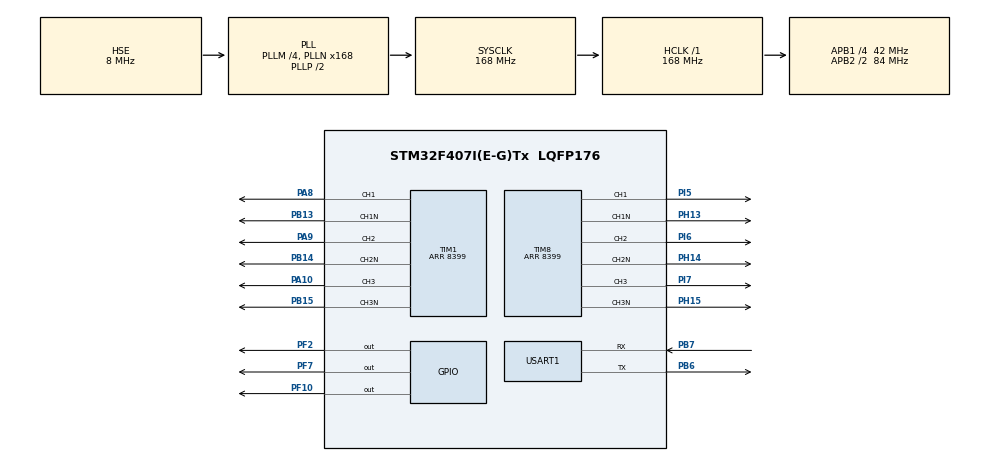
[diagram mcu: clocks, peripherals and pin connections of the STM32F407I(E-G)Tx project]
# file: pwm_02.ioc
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Dma.Request0=USART1_RX
Dma.Request1=USART1_TX
Dma.USART1_RX.0.Direction=DMA_PERIPH_TO_MEMORY
Dma.USART1_RX.0.FIFOMode=DMA_FIFOMODE_DISABLE
Dma.USART1_RX.0.Instance=DMA2_Stream2
Dma.USART1_RX.0.MemDataAlignment=DMA_MDATAALIGN_BYTE
Dma.USART1_RX.0.MemInc=DMA_MINC_ENABLE
Dma.USART1_RX.0.Mode=DMA_NORMAL
Dma.USART1_RX.0.PeriphDataAlignment=DMA_PDATAALIGN_BYTE
Dma.USART1_RX.0.PeriphInc=DMA_PINC_DISABLE
Dma.USART1_RX.0.Priority=DMA_PRIORITY_LOW
Dma.USART1_TX.1.Direction=DMA_MEMORY_TO_PERIPH
Dma.USART1_TX.1.FIFOMode=DMA_FIFOMODE_DISABLE
Dma.USART1_TX.1.Instance=DMA2_Stream7
Dma.USART1_TX.1.MemDataAlignment=DMA_MDATAALIGN_BYTE
Dma.USART1_TX.1.MemInc=DMA_MINC_ENABLE
Dma.USART1_TX.1.Mode=DMA_NORMAL
Dma.USART1_TX.1.PeriphDataAlignment=DMA_PDATAALIGN_BYTE
Dma.USART1_TX.1.PeriphInc=DMA_PINC_DISABLE
Dma.USART1_TX.1.Priority=DMA_PRIORITY_LOW
Mcu.Family=STM32F4
Mcu.Name=STM32F407I(E-G)Tx
Mcu.Package=LQFP176
NVIC.DMA2_Stream2_IRQn=true\:0\:0\:false\:false\:true\:false\:true\:true
NVIC.DMA2_Stream7_IRQn=true\:0\:0\:false\:false\:true\:false\:true\:true
NVIC.PriorityGroup=NVIC_PRIORITYGROUP_4
NVIC.TIM2_IRQn=true\:2\:0\:true\:false\:true\:true\:true\:true
NVIC.USART1_IRQn=true\:0\:0\:false\:false\:true\:true\:true\:true
PA10.Signal=S_TIM1_CH3
PA13.Mode=Serial_Wire
PA13.Signal=SYS_JTMS-SWDIO
PA14.Mode=Serial_Wire
PA14.Signal=SYS_JTCK-SWCLK
PA8.Signal=S_TIM1_CH1
PA9.Signal=S_TIM1_CH2
PB13.Mode=PWM Generation1 CH1 CH1N
PB13.Signal=TIM1_CH1N
PB14.Mode=PWM Generation2 CH2 CH2N
PB14.Signal=TIM1_CH2N
PB15.Mode=PWM Generation3 CH3 CH3N
PB15.Signal=TIM1_CH3N
PB6.Mode=Asynchronous
PB6.Signal=USART1_TX
PB7.Mode=Asynchronous
PB7.Signal=USART1_RX
PF10.GPIO_PuPd=GPIO_NOPULL
PF10.PinState=GPIO_PIN_RESET
PF10.Signal=GPIO_Output
PF2.GPIO_PuPd=GPIO_NOPULL
PF2.PinState=GPIO_PIN_RESET
PF2.Signal=GPIO_Output
PF7.GPIO_PuPd=GPIO_NOPULL
PF7.PinState=GPIO_PIN_RESET
PF7.Signal=GPIO_Output
PH0-OSC_IN.Mode=HSE-External-Oscillator
PH0-OSC_IN.Signal=RCC_OSC_IN
PH1-OSC_OUT.Mode=HSE-External-Oscillator
PH1-OSC_OUT.Signal=RCC_OSC_OUT
PH13.Mode=PWM Generation1 CH1 CH1N
PH13.Signal=TIM8_CH1N
PH14.Mode=PWM Generation2 CH2 CH2N
PH14.Signal=TIM8_CH2N
PH15.Mode=PWM Generation3 CH3 CH3N
PH15.Signal=TIM8_CH3N
PI5.Signal=S_TIM8_CH1
PI6.Signal=S_TIM8_CH2
PI7.Signal=S_TIM8_CH3
ProjectManager.HeapSize=0x200
ProjectManager.StackSize=0x400
ProjectManager.TargetToolchain=MDK-ARM V5.32
RCC.48MHZClocksFreq_Value=84000000
RCC.AHBFreq_Value=168000000
RCC.APB1CLKDivider=RCC_HCLK_DIV4
RCC.APB1Freq_Value=42000000
RCC.APB1TimFreq_Value=84000000
RCC.APB2CLKDivider=RCC_HCLK_DIV2
RCC.APB2Freq_Value=84000000
RCC.APB2TimFreq_Value=168000000
RCC.CortexFreq_Value=168000000
RCC.HCLKFreq_Value=168000000
RCC.HSE_VALUE=8000000
RCC.HSI_VALUE=16000000
RCC.LSE_VALUE=32768
RCC.PLLM=4
RCC.PLLN=168
RCC.PLLSourceVirtual=RCC_PLLSOURCE_HSE
RCC.SYSCLKFreq_VALUE=168000000
RCC.SYSCLKSource=RCC_SYSCLKSOURCE_PLLCLK
RCC.VCOOutputFreq_Value=336000000
SH.S_TIM1_CH1.0=TIM1_CH1,PWM Generation1 CH1 CH1N
SH.S_TIM1_CH2.0=TIM1_CH2,PWM Generation2 CH2 CH2N
SH.S_TIM1_CH3.0=TIM1_CH3,PWM Generation3 CH3 CH3N
SH.S_TIM8_CH1.0=TIM8_CH1,PWM Generation1 CH1 CH1N
SH.S_TIM8_CH2.0=TIM8_CH2,PWM Generation2 CH2 CH2N
SH.S_TIM8_CH3.0=TIM8_CH3,PWM Generation3 CH3 CH3N
TIM1.AutomaticOutput=TIM_AUTOMATICOUTPUT_DISABLE
TIM1.Channel-PWM\ Generation1\ CH1\ CH1N=TIM_CHANNEL_1
TIM1.Channel-PWM\ Generation2\ CH2\ CH2N=TIM_CHANNEL_2
TIM1.Channel-PWM\ Generation3\ CH3\ CH3N=TIM_CHANNEL_3
TIM1.CounterMode=TIM_COUNTERMODE_CENTERALIGNED1
TIM1.DeadTime=0
TIM1.OCMode_PWM-PWM\ Generation1\ CH1\ CH1N=TIM_OCMODE_PWM2
TIM1.OCMode_PWM-PWM\ Generation2\ CH2\ CH2N=TIM_OCMODE_PWM2
TIM1.OCMode_PWM-PWM\ Generation3\ CH3\ CH3N=TIM_OCMODE_PWM2
TIM1.OffStateIDLEMode=TIM_OSSI_ENABLE
TIM1.OffStateRunMode=TIM_OSSR_ENABLE
TIM1.Period=8399
TIM1.Pulse-PWM\ Generation1\ CH1\ CH1N=4200
TIM1.Pulse-PWM\ Generation2\ CH2\ CH2N=4200
TIM1.Pulse-PWM\ Generation3\ CH3\ CH3N=4200
TIM2.ClockDivision=TIM_CLOCKDIVISION_DIV1
TIM2.Period=83990
TIM8.AutomaticOutput=TIM_AUTOMATICOUTPUT_DISABLE
TIM8.Channel-PWM\ Generation1\ CH1\ CH1N=TIM_CHANNEL_1
TIM8.Channel-PWM\ Generation2\ CH2\ CH2N=TIM_CHANNEL_2
TIM8.Channel-PWM\ Generation3\ CH3\ CH3N=TIM_CHANNEL_3
TIM8.CounterMode=TIM_COUNTERMODE_CENTERALIGNED1
TIM8.DeadTime=0
TIM8.OCMode_PWM-PWM\ Generation1\ CH1\ CH1N=TIM_OCMODE_PWM2
TIM8.OCMode_PWM-PWM\ Generation2\ CH2\ CH2N=TIM_OCMODE_PWM2
TIM8.OCMode_PWM-PWM\ Generation3\ CH3\ CH3N=TIM_OCMODE_PWM2
TIM8.OffStateIDLEMode=TIM_OSSI_ENABLE
TIM8.OffStateRunMode=TIM_OSSR_ENABLE
TIM8.Period=8399
TIM8.Pulse-PWM\ Generation1\ CH1\ CH1N=4200
TIM8.Pulse-PWM\ Generation2\ CH2\ CH2N=4200
TIM8.Pulse-PWM\ Generation3\ CH3\ CH3N=4200
USART1.VirtualMode=VM_ASYNC
VP_TIM1_VS_ClockSourceINT.Mode=Internal
VP_TIM2_VS_ClockSourceINT.Mode=Internal
VP_TIM8_VS_ClockSourceINT.Mode=Internal
board=custom

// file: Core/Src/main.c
/* USER CODE BEGIN Header */
/**
  ******************************************************************************
  * @file           : main.c
  * @brief          : Main program body
  ******************************************************************************
  */

/* USER CODE END Header */

#include "main.h"
#include "dma.h"
#include "tim.h"
#include "usart.h"
#include "gpio.h"

/* USER CODE BEGIN Includes */

#include "string.h"
#include "../SYSTEM/delay/delay.h"
#include "../BSP/EXTI/exti.h"
#include "../BSP/LED/led.h"

/* USER CODE END Includes */

/* USER CODE BEGIN PD */

/*
 * 上位机发送格式：
 *
 * a0:+30,a1:-45,a2:+60,a3:-75,a4:+90,a5:-10\r\n
 *
 * 总长度：
 *
 * a0:+30,  -> 7
 * a1:-45,  -> 7
 * a2:+60,  -> 7
 * a3:-75,  -> 7
 * a4:+90,  -> 7
 * a5:-10   -> 6
 * \r\n     -> 2
 *
 * 总计：7*5 + 6 + 2 = 43
 */

#define RX_BUF_SIZE     64
#define FRAME_LEN       43

/* 六路电流允许范围 */
#define AMP_MIN         (-99)
#define AMP_MAX         (99)

/* PC heartbeat is approximately 33 ms. Timeout includes the 300 ms boundary. */
#define CMD_TIMEOUT_MS 300U
/* Two HAL tick increments give a conservative nominal 1..2 ms zero hold.
   Also require new natural TIM1/TIM8 update events to prove CCR preloads
   actually transferred, independently of SysTick interrupt latency.
   No forced update event, timer restart, frequency or polarity change. */
#define CMD_RECOVERY_ZERO_MS 2U
#define DRIVER_CTRL_SD_PINS (GPIO_PIN_2 | GPIO_PIN_7 | GPIO_PIN_10)

/* USER CODE END PD */

/* USER CODE BEGIN PV */

static uint8_t pwm_started = 0;

/* UART DMA接收缓冲区 */
static uint8_t rx_buf[RX_BUF_SIZE];

/*
 * DMA接收完成后，把数据复制到这里。
 * 避免重新启动DMA以后，DMA继续修改rx_buf，
 * 而主循环同时读取rx_buf造成数据竞争。
 */
static uint8_t process_buf[RX_BUF_SIZE];

/* UART发送缓冲区 */
static uint8_t tx_buf[16];

static volatile uint8_t rx_done = 0;
static volatile uint16_t rx_len = 0;

/* 六路电磁铁电流 */
static volatile int a0_amp = 0;
static volatile int a1_amp = 0;
static volatile int a2_amp = 0;
static volatile int a3_amp = 0;
static volatile int a4_amp = 0;
static volatile int a5_amp = 0;

/* Foreground-owned watchdog state, volatile also for bench debugger inspection.
   Only a validated command commit updates last_valid_cmd_tick. */
static volatile uint32_t last_valid_cmd_tick = 0U;
static volatile uint8_t cmd_seen = 0U;
static volatile uint8_t watchdog_timeout_latched = 0U;
static volatile uint8_t recovery_pending = 0U;
static volatile uint32_t recovery_zero_tick = 0U;

/* USER CODE END PV */

void SystemClock_Config(void);

/* USER CODE BEGIN PFP */

void Start_PWM(void);
void Stop_PWM(void);

/*
 * 解析带符号三位数：
 *
 * +30 -> 30
 * -45 -> -45
 * +00 -> 0
 * -05 -> -5
 */
static int PARSE_SIGNED(const uint8_t *buf, uint16_t idx);

/* USER CODE END PFP */

/* USER CODE BEGIN 0 */

/**
 * @brief 解析固定3字符的带符号电流值
 *
 * 格式：
 *      +30
 *      -45
 *      +00
 *      -05
 *
 * @param buf  数据缓冲区
 * @param idx  符号所在位置
 *
 * @return 解析后的有符号整数
 */
static int PARSE_SIGNED(const uint8_t *buf, uint16_t idx)
{
    int sign;
    int value;

    /* 检查符号 */
    if (buf[idx] == '+')
    {
        sign = 1;
    }
    else if (buf[idx] == '-')
    {
        sign = -1;
    }
    else
    {
        return 0;
    }

    /* 检查十位数字 */
    if (buf[idx + 1] < '0' || buf[idx + 1] > '9')
    {
        return 0;
    }

    /* 检查个位数字 */
    if (buf[idx + 2] < '0' || buf[idx + 2] > '9')
    {
        return 0;
    }

    value = (buf[idx + 1] - '0') * 10
          + (buf[idx + 2] - '0');

    value *= sign;

    /* 限制范围 */
    if (value > AMP_MAX)
    {
        value = AMP_MAX;
    }

    if (value < AMP_MIN)
    {
        value = AMP_MIN;
    }

    return value;
}

/**
 * @brief 检查接收到的数据是不是完整的43字节协议帧
 */
static uint8_t Check_Frame(const uint8_t *buf, uint16_t len)
{
    if (len < FRAME_LEN)
    {
        return 0;
    }

    /*
     * 检查固定格式中的关键字符
     */

    /* a0:+30, */
    if (buf[0]  != 'a' ||
        buf[1]  != '0' ||
        buf[2]  != ':' ||
        (buf[3]  != '+' && buf[3] != '-') ||
        buf[6]  != ',')
    {
        return 0;
    }

    /* a1:-45, */
    if (buf[7]  != 'a' ||
        buf[8]  != '1' ||
        buf[9]  != ':' ||
        (buf[10] != '+' && buf[10] != '-') ||
        buf[13] != ',')
    {
        return 0;
    }

    /* a2:+60, */
    if (buf[14] != 'a' ||
        buf[15] != '2' ||
        buf[16] != ':' ||
        (buf[17] != '+' && buf[17] != '-') ||
        buf[20] != ',')
    {
        return 0;
    }

    /* a3:-75, */
    if (buf[21] != 'a' ||
        buf[22] != '3' ||
        buf[23] != ':' ||
        (buf[24] != '+' && buf[24] != '-') ||
        buf[27] != ',')
    {
        return 0;
    }

    /* a4:+90, */
    if (buf[28] != 'a' ||
        buf[29] != '4' ||
        buf[30] != ':' ||
        (buf[31] != '+' && buf[31] != '-') ||
        buf[34] != ',')
    {
        return 0;
    }

    /* a5:-10 */
    if (buf[35] != 'a' ||
        buf[36] != '5' ||
        buf[37] != ':' ||
        (buf[38] != '+' && buf[38] != '-'))
    {
        return 0;
    }

    /* 检查帧尾 */
    if (buf[41] != '\r' ||
        buf[42] != '\n')
    {
        return 0;
    }

    /* Two decimal digits per channel: parsing cannot fail or exceed +/-99.
       The original parser returns zero on an invalid digit; reject it BEFORE
       commit instead of confusing a parse failure with a valid zero command. */
    {
        uint16_t channel;
        for (channel = 0U; channel < 6U; ++channel)
        {
            uint16_t digit = (uint16_t)(4U + channel * 7U);
            if (buf[digit] < '0' || buf[digit] > '9' ||
                buf[digit + 1U] < '0' || buf[digit + 1U] > '9')
                return 0;
        }
    }

    return 1;
}

/* Confirmed custom groups: PF10 -> poles 1/4/5/6, PF2 -> pole 2,
   PF7 -> pole 3. Existing firmware convention: HIGH enable, LOW shutdown. */
static void driver_shutdown_all(void)
{
    HAL_GPIO_WritePin(GPIOF, DRIVER_CTRL_SD_PINS, GPIO_PIN_RESET);
}

static void driver_enable_all(void)
{
    HAL_GPIO_WritePin(GPIOF, DRIVER_CTRL_SD_PINS, GPIO_PIN_SET);
}

/* Caller masks interrupts. Reuse the exact TIM2 command-to-CCR path; the
   callback only writes CCRs and is safe to invoke here without a timer event. */
static void clear_command_outputs(void)
{
    a0_amp = 0;
    a1_amp = 0;
    a2_amp = 0;
    a3_amp = 0;
    a4_amp = 0;
    a5_amp = 0;
    HAL_TIM_PeriodElapsedCallback(&htim2);
}

/* Caller masks interrupts. Shutdown first protects the power stage while
   zero CCR preloads propagate. PWM timers keep their original configuration
   and keep running; the separate CTRL_SD pins disable all six drivers. */
static void enter_command_timeout_safe_state(void)
{
    driver_shutdown_all();
    clear_command_outputs();
    watchdog_timeout_latched = 1U;
    recovery_pending = 0U;
}

/* Foreground only; no delay, allocation, UART operation or busy wait.
   An unseen command stays in the existing boot shutdown state indefinitely.
   Check expiry before recovery, so a stalled recovery cannot re-enable. */
static void command_watchdog_poll(void)
{
    uint32_t primask = __get_PRIMASK();
    uint32_t now;
    __disable_irq();
    now = HAL_GetTick();
    if (cmd_seen != 0U &&
        (uint32_t)(now - last_valid_cmd_tick) >= CMD_TIMEOUT_MS)
    {
        if (watchdog_timeout_latched == 0U || recovery_pending != 0U)
            enter_command_timeout_safe_state();
    }
    else if (recovery_pending != 0U &&
             (uint32_t)(now - recovery_zero_tick) >= CMD_RECOVERY_ZERO_MS &&
             __HAL_TIM_GET_FLAG(&htim1, TIM_FLAG_UPDATE) != RESET &&
             __HAL_TIM_GET_FLAG(&htim8, TIM_FLAG_UPDATE) != RESET)
    {
        /* All commits during recovery kept commands/CCRs zero. Both timers
           have produced a new natural UEV AFTER all zero CCR writes, so
           ACTIVE compare values (not merely readable preloads) are zero.
           Scheme A: the recovery frame's target is discarded; only a NEW
           frame after this enable may apply a nonzero command. */
        recovery_pending = 0U;
        watchdog_timeout_latched = 0U;
        driver_enable_all();
    }
    __DMB();
    __set_PRIMASK(primask);
}

static void commit_command(int t0, int t1, int t2, int t3, int t4, int t5)
{
    uint32_t primask = __get_PRIMASK();
    __disable_irq();
    /* Recheck at the actual commit boundary, including a HAL tick that
       advanced during validation. A late valid frame starts safe recovery. */
    command_watchdog_poll();
    if (watchdog_timeout_latched != 0U)
    {
        clear_command_outputs();
        if (recovery_pending == 0U)
        {
            /* Clear only the unused TIM1/TIM8 update flags AFTER zero writes.
               These timers have no update IRQ/DMA enabled. A subsequent
               natural UEV proves transfer; never force EGR.UG or restart. */
            __HAL_TIM_CLEAR_FLAG(&htim1, TIM_FLAG_UPDATE);
            __HAL_TIM_CLEAR_FLAG(&htim8, TIM_FLAG_UPDATE);
            recovery_zero_tick = HAL_GetTick();
            recovery_pending = 1U;
        }
    }
    else
    {
        a0_amp = t0;
        a1_amp = t1;
        a2_amp = t2;
        a3_amp = t3;
        a4_amp = t4;
        a5_amp = t5;
    }
    /* A recovery commit deliberately commits ZERO, never its old target.
       Invalid/rejected data never reaches this function or feeds the timer. */
    last_valid_cmd_tick = HAL_GetTick();
    cmd_seen = 1U;
    __DMB();
    __set_PRIMASK(primask);
}

/* USER CODE END 0 */

int main(void)
{

  /* MCU Configuration--------------------------------------------------------*/

  HAL_Init();

  /* Configure the system clock */

  SystemClock_Config();

  /* Initialize all configured peripherals */

  MX_GPIO_Init();
  MX_DMA_Init();
  MX_TIM1_Init();
  MX_TIM2_Init();
  MX_USART1_UART_Init();
  MX_TIM8_Init();

  /* USER CODE BEGIN 2 */

  /* 上电时关闭PWM */
  Stop_PWM();

  /* TIM2周期 */
  TIM2->ARR = 41999;

  /*
   * 启动UART DMA + IDLE接收
   */
  HAL_UARTEx_ReceiveToIdle_DMA(
      &huart1,
      rx_buf,
      RX_BUF_SIZE
  );

  /*
   * 禁止DMA半传输中断
   */
  __HAL_DMA_DISABLE_IT(
      huart1.hdmarx,
      DMA_IT_HT
  );

  /* USER CODE END 2 */

  /* Infinite loop */

  while (1)
  {

    /* USER CODE BEGIN 3 */

    /* Check before RX: a frame arriving after the deadline recovers safely. */
    command_watchdog_poll();
    if (rx_done)
    {
        uint16_t len;
        uint8_t frame[RX_BUF_SIZE];
        uint32_t primask;

        int t0;
        int t1;
        int t2;
        int t3;
        int t4;
        int t5;

        /*
         * 先清除标志
         */
        primask = __get_PRIMASK();
        __disable_irq();

        /*
         * 读取本次接收长度
         */
        len = rx_len;
        if (len > RX_BUF_SIZE) len = RX_BUF_SIZE;
        /* RX callback may replace process_buf after interrupts resume.
           Validate, parse and echo this one bounded immutable snapshot. */
        memcpy(frame, process_buf, len);
        rx_done = 0;
        __DMB();
        __set_PRIMASK(primask);

        /*
         * 必须是完整43字节帧
         */
        if (len >= FRAME_LEN)
        {
            /*
             * 检查协议格式
             */
            if (Check_Frame(frame, len))
            {
                /*
                 * 解析6路电流
                 *
                 * a0:+30
                 *     ^
                 *     3
                 */
                t0 = PARSE_SIGNED(frame, 3);

                /*
                 * a1:-45
                 *        ^
                 *        10
                 */
                t1 = PARSE_SIGNED(frame, 10);

                /*
                 * a2:+60
                 *               ^
                 *               17
                 */
                t2 = PARSE_SIGNED(frame, 17);

                /*
                 * a3:-75
                 *                      ^
                 *                      24
                 */
                t3 = PARSE_SIGNED(frame, 24);

                /*
                 * a4:+90
                 *                             ^
                 *                             31
                 */
                t4 = PARSE_SIGNED(frame, 31);

                /*
                 * a5:-10
                 *                                    ^
                 *                                    38
                 */
                t5 = PARSE_SIGNED(frame, 38);

                /*
                 * 更新PWM使用的6路电流变量
                 */
                commit_command(t0, t1, t2, t3, t4, t5);

                /*
                 * 第一次收到有效指令后启动PWM
                 */
                if (!pwm_started)
                {
                    Start_PWM();
                    pwm_started = 1;
                }

                /*
                 * =========================================================
                 * 回传数据
                 * =========================================================
                 *
                 * 这里暂时保持你原来的12字节回传协议：
                 *
                 * a0 -> 两位数字
                 * a1 -> 两位数字
                 * ...
                 *
                 * 注意：这个回传协议不包含正负号。
                 *
                 * 如果上位机需要读取正负号，
                 * 后面可以改成18字节有符号回传。
                 */

                /* Keep the DMA-owned echo buffer unchanged while TX is busy. */
                if (huart1.gState == HAL_UART_STATE_READY)
                {
                    uint32_t echo_primask;
                    tx_buf[0]  = frame[4];
                    tx_buf[1]  = frame[5];

                    tx_buf[2]  = frame[11];
                    tx_buf[3]  = frame[12];

                    tx_buf[4]  = frame[18];
                    tx_buf[5]  = frame[19];

                    tx_buf[6]  = frame[25];
                    tx_buf[7]  = frame[26];

                    tx_buf[8]  = frame[32];
                    tx_buf[9]  = frame[33];

                    tx_buf[10] = frame[39];
                    tx_buf[11] = frame[40];

                    /*
                     * UART空闲后发送12字节
                     */
                    /* TX/RX share huart1.Lock; RX rearm must not see TX setup locked. */
                    echo_primask = __get_PRIMASK();
                    __disable_irq();
                    HAL_UART_Transmit_DMA(
                        &huart1,
                        tx_buf,
                        12
                    );
                    __set_PRIMASK(echo_primask);
                }
            }
        }
    }

  }

  /* USER CODE END 3 */
}

void SystemClock_Config(void)
{
  RCC_OscInitTypeDef RCC_OscInitStruct = {0};
  RCC_ClkInitTypeDef RCC_ClkInitStruct = {0};

  __HAL_RCC_PWR_CLK_ENABLE();

  __HAL_PWR_VOLTAGESCALING_CONFIG(
      PWR_REGULATOR_VOLTAGE_SCALE1
  );

  RCC_OscInitStruct.OscillatorType =
      RCC_OSCILLATORTYPE_HSE;

  RCC_OscInitStruct.HSEState =
      RCC_HSE_ON;

  RCC_OscInitStruct.PLL.PLLState =
      RCC_PLL_ON;

  RCC_OscInitStruct.PLL.PLLSource =
      RCC_PLLSOURCE_HSE;

  RCC_OscInitStruct.PLL.PLLM = 4;
  RCC_OscInitStruct.PLL.PLLN = 168;
  RCC_OscInitStruct.PLL.PLLP = RCC_PLLP_DIV2;
  RCC_OscInitStruct.PLL.PLLQ = 4;

  if (HAL_RCC_OscConfig(&RCC_OscInitStruct) != HAL_OK)
  {
    Error_Handler();
  }

  RCC_ClkInitStruct.ClockType =
      RCC_CLOCKTYPE_HCLK |
      RCC_CLOCKTYPE_SYSCLK |
      RCC_CLOCKTYPE_PCLK1 |
      RCC_CLOCKTYPE_PCLK2;

  RCC_ClkInitStruct.SYSCLKSource =
      RCC_SYSCLKSOURCE_PLLCLK;

  RCC_ClkInitStruct.AHBCLKDivider =
      RCC_SYSCLK_DIV1;

  RCC_ClkInitStruct.APB1CLKDivider =
      RCC_HCLK_DIV4;

  RCC_ClkInitStruct.APB2CLKDivider =
      RCC_HCLK_DIV2;

  if (HAL_RCC_ClockConfig(
          &RCC_ClkInitStruct,
          FLASH_LATENCY_5) != HAL_OK)
  {
    Error_Handler();
  }
}

/* USER CODE BEGIN 4 */

/**
 * @brief 启动PWM
 */
void Start_PWM(void)
{
    /*
     * 开启光耦
     */
    driver_enable_all(); /* Existing first-command startup. */

    /*
     * 启动TIM2中断
     */
    HAL_TIM_Base_Start_IT(&htim2);

    /*
     * TIM1 CH1/CH2/CH3
     */
    HAL_TIM_PWM_Start(
        &htim1,
        TIM_CHANNEL_1
    );

    HAL_TIMEx_PWMN_Start(
        &htim1,
        TIM_CHANNEL_1
    );

    HAL_TIM_PWM_Start(
        &htim1,
        TIM_CHANNEL_2
    );

    HAL_TIMEx_PWMN_Start(
        &htim1,
        TIM_CHANNEL_2
    );

    HAL_TIM_PWM_Start(
        &htim1,
        TIM_CHANNEL_3
    );

    HAL_TIMEx_PWMN_Start(
        &htim1,
        TIM_CHANNEL_3
    );

    /*
     * TIM8 CH1/CH2/CH3
     */
    HAL_TIM_PWM_Start(
        &htim8,
        TIM_CHANNEL_1
    );

    HAL_TIMEx_PWMN_Start(
        &htim8,
        TIM_CHANNEL_1
    );

    HAL_TIM_PWM_Start(
        &htim8,
        TIM_CHANNEL_2
    );

    HAL_TIMEx_PWMN_Start(
        &htim8,
        TIM_CHANNEL_2
    );

    HAL_TIM_PWM_Start(
        &htim8,
        TIM_CHANNEL_3
    );

    HAL_TIMEx_PWMN_Start(
        &htim8,
        TIM_CHANNEL_3
    );
}

/**
 * @brief 停止PWM
 */
void Stop_PWM(void)
{
    /*
     * 关闭光耦
     */
    driver_shutdown_all(); /* Existing boot/PWM stop. */

    /*
     * 停止TIM2
     */
    HAL_TIM_Base_Stop_IT(&htim2);

    /*
     * TIM1
     */
    HAL_TIM_PWM_Stop(
        &htim1,
        TIM_CHANNEL_1
    );

    HAL_TIMEx_PWMN_Stop(
        &htim1,
        TIM_CHANNEL_1
    );

    HAL_TIM_PWM_Stop(
        &htim1,
        TIM_CHANNEL_2
    );

    HAL_TIMEx_PWMN_Stop(
        &htim1,
        TIM_CHANNEL_2
    );

    HAL_TIM_PWM_Stop(
        &htim1,
        TIM_CHANNEL_3
    );

    HAL_TIMEx_PWMN_Stop(
        &htim1,
        TIM_CHANNEL_3
    );

    /*
     * TIM8
     */
    HAL_TIM_PWM_Stop(
        &htim8,
        TIM_CHANNEL_1
    );

    HAL_TIMEx_PWMN_Stop(
        &htim8,
        TIM_CHANNEL_1
    );

    HAL_TIM_PWM_Stop(
        &htim8,
        TIM_CHANNEL_2
    );

    HAL_TIMEx_PWMN_Stop(
        &htim8,
        TIM_CHANNEL_2
    );

    HAL_TIM_PWM_Stop(
        &htim8,
        TIM_CHANNEL_3
    );

    HAL_TIMEx_PWMN_Stop(
        &htim8,
        TIM_CHANNEL_3
    );
}

/**
 * @brief UART DMA + IDLE接收回调
 */
void HAL_UARTEx_RxEventCallback(
    UART_HandleTypeDef *huart,
    uint16_t Size
)
{
    if (huart == &huart1)
    {
        /*
         * 防止超过缓冲区
         */
        if (Size > RX_BUF_SIZE)
        {
            Size = RX_BUF_SIZE;
        }

        /*
         * ==========================================================
         * 关键修改：
         *
         * DMA当前使用rx_buf。
         * 收到一帧后立即复制到process_buf，
         * 然后DMA可以继续使用rx_buf。
         *
         * 这样主循环读取process_buf时，
         * 不会被下一帧DMA覆盖。
         * ==========================================================
         */

        memcpy(
            process_buf,
            rx_buf,
            Size
        );

        /*
         * 保存本次帧长度
         */
        rx_len = Size;

        /*
         * 通知主循环
         */
        rx_done = 1;

        /*
         * 重新启动DMA接收
         */
        HAL_UARTEx_ReceiveToIdle_DMA(
            &huart1,
            rx_buf,
            RX_BUF_SIZE
        );

        /*
         * 禁止半传输中断
         */
        __HAL_DMA_DISABLE_IT(
            huart1.hdmarx,
            DMA_IT_HT
        );
    }
}

/**
 * @brief TIM周期中断
 *
 * TIM2负责更新6路PWM占空比
 */
void HAL_TIM_PeriodElapsedCallback(
    TIM_HandleTypeDef *htim
)
{
    if (htim == &htim2)
    {
        /*
         * TIM1：
         *
         * CH1 -> a0
         * CH2 -> a1
         * CH3 -> a2
         *
         * TIM8：
         *
         * CH1 -> a3
         * CH2 -> a4
         * CH3 -> a5
         *
         *
         * 中心值：
         *      4200
         *
         * 电流控制：
         *      每1单位 -> 42
         *
         * 因此：
         *
         * +30 -> 4200 + 30*42
         * -30 -> 4200 - 30*42
         */

        TIM1->CCR1 =
            4200 + a0_amp * 42;

        TIM1->CCR2 =
            4200 + a1_amp * 42;

        TIM1->CCR3 =
            4200 + a2_amp * 42;

        TIM8->CCR1 =
            4200 + a3_amp * 42;

        TIM8->CCR2 =
            4200 + a4_amp * 42;

        TIM8->CCR3 =
            4200 + a5_amp * 42;
    }
}

/* USER CODE END 4 */

void Error_Handler(void)
{
  __disable_irq();
  while (1)
  {
  }
}
